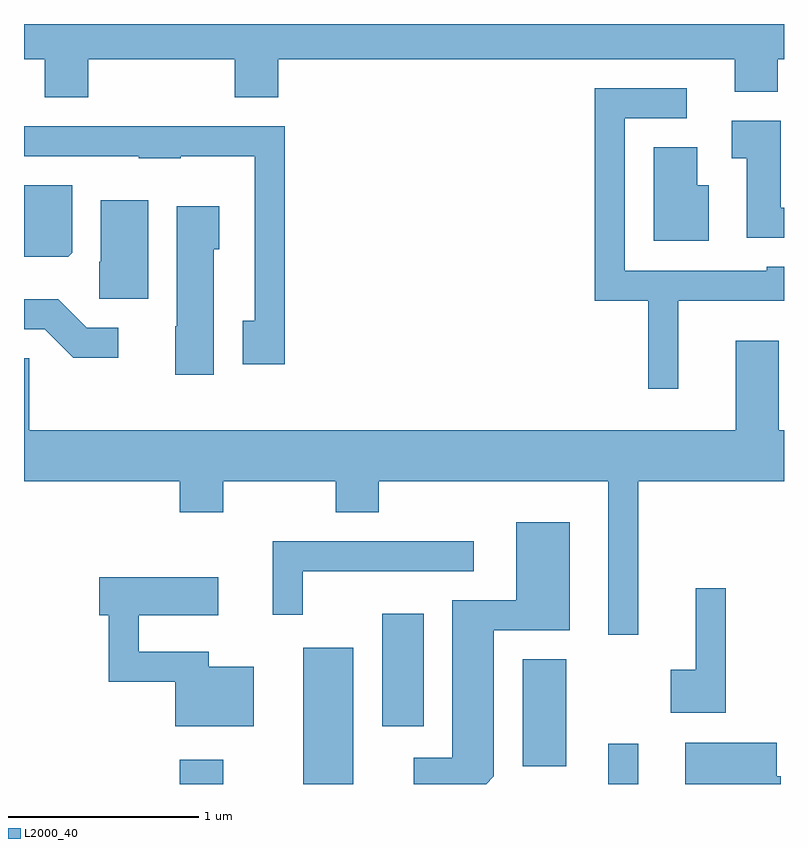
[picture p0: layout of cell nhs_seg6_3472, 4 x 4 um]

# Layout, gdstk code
import gdstk
lib = gdstk.Library(unit=1e-6, precision=1e-09)
def R(c, l, rs):  # rectangles x0, y0, x1, y1
    for r in rs: c.add(gdstk.rectangle(r[:2], r[2:], *l))
def P(c, l, *ps):  # polygons
    for p in ps: c.add(gdstk.Polygon(p, *l))
L2000_40 = (2000, 40)

nhs_seg6_3472 = lib.new_cell('nhs_seg6_3472')
R(nhs_seg6_3472, L2000_40, [(290.431,1606.162,290.659,1606.289), (291.081,1606.162,291.344,1606.879), (292.686,1606.162,292.844,1606.373), (292.236,1606.256,292.464,1606.819), (291.496,1606.466,291.714,1607.059)])
P(nhs_seg6_3472, L2000_40, [(289.611,1609.976),(289.721,1609.976),(289.721,1609.776),(289.949,1609.776),(289.949,1609.976),(290.721,1609.976),(290.721,1609.776),(290.949,1609.776),(290.949,1609.976),(293.351,1609.976),(293.351,1609.806),(293.579,1609.806),(293.579,1609.976),(293.611,1609.976),(293.611,1610.162),(289.611,1610.162)],
  [(293.054,1608.706),(293.611,1608.706),(293.611,1608.884),(293.521,1608.884),(293.521,1608.864),(292.774,1608.864),(292.774,1609.666),(293.098,1609.666),(293.098,1609.824),(292.616,1609.824),(292.616,1608.706),(292.896,1608.706),(292.896,1608.243),(293.054,1608.243)],
  [(293.611,1609.194),(293.594,1609.194),(293.594,1609.654),(293.336,1609.654),(293.336,1609.456),(293.416,1609.456),(293.416,1609.036),(293.611,1609.036)],
  [(290.984,1609.624),(289.611,1609.624),(289.611,1609.466),(290.215,1609.466),(290.215,1609.456),(290.435,1609.456),(290.435,1609.466),(290.826,1609.466),(290.826,1608.599),(290.761,1608.599),(290.761,1608.371),(290.984,1608.371)],
  [(293.214,1609.314),(293.154,1609.314),(293.154,1609.514),(292.926,1609.514),(292.926,1609.021),(293.214,1609.021)],
  [(289.864,1608.957),(289.864,1609.314),(289.611,1609.314),(289.611,1608.936),(289.844,1608.936)],
  [(290.264,1609.234),(290.016,1609.234),(290.016,1608.91),(290.006,1608.91),(290.006,1608.716),(290.264,1608.716)],
  [(290.609,1608.976),(290.639,1608.976),(290.639,1609.204),(290.416,1609.204),(290.416,1608.57),(290.406,1608.57),(290.406,1608.316),(290.609,1608.316)],
  [(290.108,1608.564),(289.942,1608.564),(289.792,1608.714),(289.611,1608.714),(289.611,1608.556),(289.719,1608.556),(289.869,1608.406),(290.108,1608.406)],
  [(292.844,1607.756),(293.611,1607.756),(293.611,1608.024),(293.584,1608.024),(293.584,1608.494),(293.356,1608.494),(293.356,1608.024),(289.639,1608.024),(289.639,1608.404),(289.611,1608.404),(289.611,1607.756),(290.431,1607.756),(290.431,1607.591),(290.659,1607.591),(290.659,1607.756),(291.251,1607.756),(291.251,1607.591),(291.479,1607.591),(291.479,1607.756),(292.686,1607.756),(292.686,1606.948),(292.844,1606.948)],
  [(292.084,1606.202),(292.084,1606.971),(292.484,1606.971),(292.484,1607.539),(292.201,1607.539),(292.201,1607.129),(291.866,1607.129),(291.866,1606.299),(291.663,1606.299),(291.663,1606.162),(292.045,1606.162)],
  [(291.079,1607.281),(291.978,1607.281),(291.978,1607.439),(290.921,1607.439),(290.921,1607.053),(291.079,1607.053)],
  [(290.819,1606.779),(290.584,1606.779),(290.584,1606.859),(290.214,1606.859),(290.214,1607.051),(290.634,1607.051),(290.634,1607.249),(290.006,1607.249),(290.006,1607.051),(290.056,1607.051),(290.056,1606.701),(290.406,1606.701),(290.406,1606.466),(290.819,1606.466)],
  [(293.304,1607.193),(293.146,1607.193),(293.146,1606.764),(293.016,1606.764),(293.016,1606.536),(293.304,1606.536)],
  [(293.594,1606.204),(293.574,1606.204),(293.574,1606.379),(293.091,1606.379),(293.091,1606.162),(293.594,1606.162)])

lib.write_gds('nhs_seg6_3472.gds')
